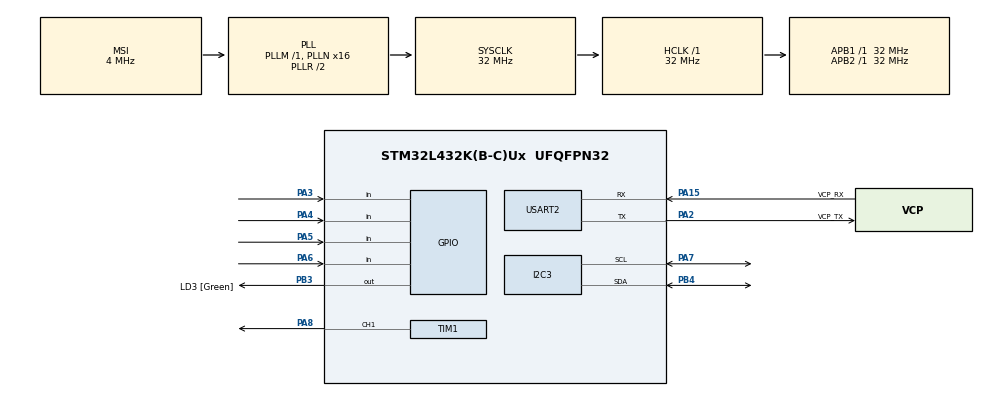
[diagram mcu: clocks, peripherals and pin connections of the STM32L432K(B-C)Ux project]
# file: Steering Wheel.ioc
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FREERTOS.Queues01=sensorQueue,4,SensorPacket_t,0,Dynamic,NULL,NULL;resetQueue,8,uint16_t,0,Dynamic,NULL,NULL;leftQueue,8,uint16_t,0,Dynamic,NULL,NULL;rightQueue,8,uint16_t,0,Dynamic,NULL,NULL;headlightQueue,8,uint16_t,0,Dynamic,NULL,NULL
FREERTOS.Tasks01=SensorTask,32,128,StartDefaultTask06,Default,NULL,Dynamic,NULL,NULL;HeadlightTask,8,128,StartTask01,Default,NULL,Dynamic,NULL,NULL;LeftSignalTask,9,128,StartTask02,Default,NULL,Dynamic,NULL,NULL;RightSignalTask,10,128,StartTask03,Default,NULL,Dynamic,NULL,NULL;ResetButtonTask,11,128,StartTask04,Default,NULL,Dynamic,NULL,NULL;UartTask,40,256,StartTask05,Default,NULL,Dynamic,NULL,NULL
FREERTOS.configTOTAL_HEAP_SIZE=20000
FREERTOS.configUSE_NEWLIB_REENTRANT=1
I2C3.Timing=0x00B07CB4
Mcu.Family=STM32L4
Mcu.Name=STM32L432K(B-C)Ux
Mcu.Package=UFQFPN32
NVIC.PriorityGroup=NVIC_PRIORITYGROUP_4
NVIC.TIM6_DAC_IRQn=true\:15\:0\:false\:false\:true\:false\:false\:true\:true
NVIC.TimeBase=TIM6_DAC_IRQn
NVIC.TimeBaseIP=TIM6
PA0.GPIO_Label=MCO [High speed clock in]
PA0.Mode=HSE-External-Clock-Source-for-LittleOrca
PA0.Signal=RCC_CK_IN
PA13\ (JTMS-SWDIO).GPIO_Label=SWDIO
PA13\ (JTMS-SWDIO).Mode=Serial_Wire
PA13\ (JTMS-SWDIO).Signal=SYS_JTMS-SWDIO
PA14\ (JTCK-SWCLK).GPIO_Label=SWCLK
PA14\ (JTCK-SWCLK).Mode=Serial_Wire
PA14\ (JTCK-SWCLK).Signal=SYS_JTCK-SWCLK
PA15\ (JTDI).GPIO_Label=VCP_RX
PA15\ (JTDI).Mode=Asynchronous
PA15\ (JTDI).Signal=USART2_RX
PA2.GPIO_Label=VCP_TX
PA2.Mode=Asynchronous
PA2.Signal=USART2_TX
PA3.GPIO_PuPd=GPIO_PULLUP
PA3.Signal=GPIO_Input
PA4.GPIO_PuPd=GPIO_PULLUP
PA4.Signal=GPIO_Input
PA5.GPIO_PuPd=GPIO_PULLUP
PA5.Signal=GPIO_Input
PA6.GPIO_PuPd=GPIO_PULLUP
PA6.Signal=GPIO_Input
PA7.Mode=I2C
PA7.Signal=I2C3_SCL
PA8.Signal=S_TIM1_CH1
PB3\ (JTDO-TRACESWO).GPIO_Label=LD3 [Green]
PB3\ (JTDO-TRACESWO).Signal=GPIO_Output
PB4\ (NJTRST).Mode=I2C
PB4\ (NJTRST).Signal=I2C3_SDA
PC14-OSC32_IN\ (PC14).Mode=LSE-External-Oscillator
PC14-OSC32_IN\ (PC14).Signal=RCC_OSC32_IN
PC15-OSC32_OUT\ (PC15).Mode=LSE-External-Oscillator
PC15-OSC32_OUT\ (PC15).Signal=RCC_OSC32_OUT
ProjectManager.HeapSize=0x200
ProjectManager.StackSize=0x400
ProjectManager.TargetToolchain=STM32CubeIDE
RCC.AHBFreq_Value=32000000
RCC.APB1Freq_Value=32000000
RCC.APB1TimFreq_Value=32000000
RCC.APB2Freq_Value=32000000
RCC.APB2TimFreq_Value=32000000
RCC.CortexFreq_Value=32000000
RCC.HCLKFreq_Value=32000000
RCC.HSE_VALUE=8000000
RCC.HSI16_VALUE=16000000
RCC.HSI48_VALUE=48000000
RCC.HSI_VALUE=16000000
RCC.MSI_VALUE=4000000
RCC.PLLMUL=RCC_PLLMUL_4
RCC.PLLN=16
RCC.SYSCLKFreq_VALUE=32000000
RCC.SYSCLKSource=RCC_SYSCLKSOURCE_PLLCLK
RCC.VCOOutputFreq_Value=64000000
SH.S_TIM1_CH1.0=TIM1_CH1,PWM Generation1 CH1
TIM1.Channel-PWM\ Generation1\ CH1=TIM_CHANNEL_1
TIM1.Period=99
TIM1.Prescaler=319
USART2.VirtualMode-Asynchronous=VM_ASYNC
VP_FREERTOS_VS_CMSIS_V2.Mode=CMSIS_V2
VP_SYS_VS_tim6.Mode=TIM6
board=NUCLEO-L432KC

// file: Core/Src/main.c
/* USER CODE BEGIN Header */
/**
  ******************************************************************************
  * @file           : main.c
  * @brief          : Main program body
  ******************************************************************************
  * @attention
  *
  * Copyright (c) 2026 STMicroelectronics.
  * All rights reserved.
  *
  * This software is licensed under terms that can be found in the LICENSE file
  * in the root directory of this software component.
  * If no LICENSE file comes with this software, it is provided AS-IS.
  *
  ******************************************************************************
  */
/* USER CODE END Header */
#include "main.h"
#include "cmsis_os.h"
#include "i2c.h"
#include "tim.h"
#include "usart.h"
#include "gpio.h"

/* USER CODE BEGIN Includes */
#include "stdio.h"
#include "string.h"
#include "stdlib.h"
#include "mpu6050.h"
/* USER CODE END Includes */

void SystemClock_Config(void);
void MX_FREERTOS_Init(void);

/* USER CODE BEGIN 0 */

/* Formats a float as "-12.34" into buf using only integer sprintf
 * specifiers (%d) — sidesteps needing the newlib-nano "-u _printf_float"
 * linker flag, which wasn't taking effect on this project. Always
 * writes exactly 2 decimal digits.
 * NOTE: no longer static — freertos.c (UartTask) calls this too.
 * Declared in main.h so both files can see it. */
void format_float2(char *buf, float val)
{
    int sign = (val < 0) ? -1 : 1;
    float absVal = val * sign;
    int whole = (int)absVal;
    int frac = (int)((absVal - whole) * 100.0f + 0.5f); /* round to 2 dp */
    if (frac >= 100) { frac -= 100; whole += 1; }        /* carry from rounding */
    sprintf(buf, "%s%d.%02d", (sign < 0) ? "-" : "", whole, frac);
}

/* USER CODE END 0 */

int main(void)
{

  /* MCU Configuration--------------------------------------------------------*/

  /* Reset of all peripherals, Initializes the Flash interface and the Systick. */
  HAL_Init();

  /* Configure the system clock */
  SystemClock_Config();

  /* Initialize all configured peripherals */
  MX_GPIO_Init();
  MX_I2C3_Init();
  MX_USART2_UART_Init();
  MX_TIM1_Init();
  /* USER CODE BEGIN 2 */
  /* One-time setup only. All per-cycle work (sensor read, button
   * polling, headlight PWM update, UART send) now lives in the
   * FreeRTOS tasks defined in freertos.c: SensorTask, ResetButtonTask,
   * LeftSignalTask, RightSignalTask, HeadlightTask, and UartTask. */

  /* Step 1: find out what your specific chip actually reports. Confirmed
   * to be 0x72 (a known common clone ID) on your hardware.               */
  uint8_t whoAmI = 0;
  MPU6050_Check_WhoAmI(&hi2c3, &whoAmI);

  char idMsg[40];
  sprintf(idMsg, "WHO_AM_I: 0x%02X\r\n", whoAmI);
  HAL_UART_Transmit(&huart2, (uint8_t*)idMsg, strlen(idMsg), HAL_MAX_DELAY);

  /* Step 2: initialize using the ID we just read. */
  uint8_t calStatus = MPU6050_ERROR;
  if (MPU6050_Init(&hi2c3, whoAmI) == MPU6050_OK) {
      HAL_UART_Transmit(&huart2, (uint8_t*)"Init OK\r\n", 9, HAL_MAX_DELAY);
      calStatus = MPU6050_Calibrate(&hi2c3, 500); /* ~1s, keep sensor still */
  } else {
      HAL_UART_Transmit(&huart2, (uint8_t*)"Init FAILED\r\n", 13, HAL_MAX_DELAY);
  }

  if (calStatus == MPU6050_OK) {
      HAL_UART_Transmit(&huart2, (uint8_t*)"Calibration OK\r\n", 16, HAL_MAX_DELAY);
  } else {
      HAL_UART_Transmit(&huart2, (uint8_t*)"Calibration FAILED\r\n", 20, HAL_MAX_DELAY);
  }

  HAL_TIM_PWM_Start(&htim1, TIM_CHANNEL_1);
  /* USER CODE END 2 */

  /* Init scheduler */
  osKernelInitialize();  /* Call init function for freertos objects (in cmsis_os2.c) */
  MX_FREERTOS_Init();

  /* Start scheduler */
  osKernelStart();

  /* We should never get here as control is now taken by the scheduler */

  /* Infinite loop */
  while (1)
  {

  }
}

void SystemClock_Config(void)
{
  RCC_OscInitTypeDef RCC_OscInitStruct = {0};
  RCC_ClkInitTypeDef RCC_ClkInitStruct = {0};

  /** Configure the main internal regulator output voltage
  */
  if (HAL_PWREx_ControlVoltageScaling(PWR_REGULATOR_VOLTAGE_SCALE1) != HAL_OK)
  {
    Error_Handler();
  }

  /** Configure LSE Drive Capability
  */
  HAL_PWR_EnableBkUpAccess();
  __HAL_RCC_LSEDRIVE_CONFIG(RCC_LSEDRIVE_LOW);

  /** Initializes the RCC Oscillators according to the specified parameters
  * in the RCC_OscInitTypeDef structure.
  */
  RCC_OscInitStruct.OscillatorType = RCC_OSCILLATORTYPE_LSE|RCC_OSCILLATORTYPE_MSI;
  RCC_OscInitStruct.LSEState = RCC_LSE_ON;
  RCC_OscInitStruct.MSIState = RCC_MSI_ON;
  RCC_OscInitStruct.MSICalibrationValue = 0;
  RCC_OscInitStruct.MSIClockRange = RCC_MSIRANGE_6;
  RCC_OscInitStruct.PLL.PLLState = RCC_PLL_ON;
  RCC_OscInitStruct.PLL.PLLSource = RCC_PLLSOURCE_MSI;
  RCC_OscInitStruct.PLL.PLLM = 1;
  RCC_OscInitStruct.PLL.PLLN = 16;
  RCC_OscInitStruct.PLL.PLLP = RCC_PLLP_DIV7;
  RCC_OscInitStruct.PLL.PLLQ = RCC_PLLQ_DIV2;
  RCC_OscInitStruct.PLL.PLLR = RCC_PLLR_DIV2;
  if (HAL_RCC_OscConfig(&RCC_OscInitStruct) != HAL_OK)
  {
    Error_Handler();
  }

  /** Initializes the CPU, AHB and APB buses clocks
  */
  RCC_ClkInitStruct.ClockType = RCC_CLOCKTYPE_HCLK|RCC_CLOCKTYPE_SYSCLK
                              |RCC_CLOCKTYPE_PCLK1|RCC_CLOCKTYPE_PCLK2;
  RCC_ClkInitStruct.SYSCLKSource = RCC_SYSCLKSOURCE_PLLCLK;
  RCC_ClkInitStruct.AHBCLKDivider = RCC_SYSCLK_DIV1;
  RCC_ClkInitStruct.APB1CLKDivider = RCC_HCLK_DIV1;
  RCC_ClkInitStruct.APB2CLKDivider = RCC_HCLK_DIV1;

  if (HAL_RCC_ClockConfig(&RCC_ClkInitStruct, FLASH_LATENCY_1) != HAL_OK)
  {
    Error_Handler();
  }

  /** Enable MSI Auto calibration
  */
  HAL_RCCEx_EnableMSIPLLMode();
}

void HAL_TIM_PeriodElapsedCallback(TIM_HandleTypeDef *htim)
{
  if (htim->Instance == TIM6)
  {
    HAL_IncTick();
  }
}

void Error_Handler(void)
{
  __disable_irq();
  while (1)
  {
  }
}

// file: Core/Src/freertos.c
/* USER CODE BEGIN Header */
/**
  ******************************************************************************
  * @file    freertos.c
  * @brief   Code for freertos applications
  * @note    Generated by CubeMX (FreeRTOS, CMSIS_V2 interface), then hand-edited
  *          to move the Driving Wheel sensor/button/UART loop into
  *          6 tasks + 5 queues, per the plan worked out with Claude.
  ******************************************************************************
  */
/* USER CODE END Header */

#include "FreeRTOS.h"
#include "task.h"
#include "main.h"
#include "cmsis_os.h"

/* USER CODE BEGIN Includes */
#include "mpu6050.h"
#include "i2c.h"
#include "usart.h"
#include "tim.h"
#include "string.h"
#include "stdio.h"

/* Sensor packet carried through sensorQueue. Must exist before
 * MX_FREERTOS_Init() uses sizeof(SensorPacket_t) below. */
typedef struct {
    float Ax, Ay, Az;
    float Gx, Gy, Gz;
    float Temp;
} SensorPacket_t;
/* USER CODE END Includes */

/* USER CODE BEGIN Variables */
static MPU6050_t mpu = {0};   /* only SensorTask touches this */
/* USER CODE END Variables */
/* Definitions for SensorTask */
osThreadId_t SensorTaskHandle;
const osThreadAttr_t SensorTask_attributes = {
  .name = "SensorTask",
  .stack_size = 128 * 4,
  .priority = (osPriority_t) osPriorityAboveNormal,
};
/* Definitions for HeadlightTask */
osThreadId_t HeadlightTaskHandle;
const osThreadAttr_t HeadlightTask_attributes = {
  .name = "HeadlightTask",
  .stack_size = 128 * 4,
  .priority = (osPriority_t) osPriorityLow,
};
/* Definitions for LeftSignalTask */
osThreadId_t LeftSignalTaskHandle;
const osThreadAttr_t LeftSignalTask_attributes = {
  .name = "LeftSignalTask",
  .stack_size = 128 * 4,
  .priority = (osPriority_t) osPriorityLow1,
};
/* Definitions for RightSignalTask */
osThreadId_t RightSignalTaskHandle;
const osThreadAttr_t RightSignalTask_attributes = {
  .name = "RightSignalTask",
  .stack_size = 128 * 4,
  .priority = (osPriority_t) osPriorityLow2,
};
/* Definitions for ResetButtonTask */
osThreadId_t ResetButtonTaskHandle;
const osThreadAttr_t ResetButtonTask_attributes = {
  .name = "ResetButtonTask",
  .stack_size = 128 * 4,
  .priority = (osPriority_t) osPriorityLow3,
};
/* Definitions for UartTask */
osThreadId_t UartTaskHandle;
const osThreadAttr_t UartTask_attributes = {
  .name = "UartTask",
  .stack_size = 256 * 4,
  .priority = (osPriority_t) osPriorityHigh,
};
/* Definitions for sensorQueue */
osMessageQueueId_t sensorQueueHandle;
const osMessageQueueAttr_t sensorQueue_attributes = {
  .name = "sensorQueue"
};
/* Definitions for resetQueue */
osMessageQueueId_t resetQueueHandle;
const osMessageQueueAttr_t resetQueue_attributes = {
  .name = "resetQueue"
};
/* Definitions for leftQueue */
osMessageQueueId_t leftQueueHandle;
const osMessageQueueAttr_t leftQueue_attributes = {
  .name = "leftQueue"
};
/* Definitions for rightQueue */
osMessageQueueId_t rightQueueHandle;
const osMessageQueueAttr_t rightQueue_attributes = {
  .name = "rightQueue"
};
/* Definitions for headlightQueue */
osMessageQueueId_t headlightQueueHandle;
const osMessageQueueAttr_t headlightQueue_attributes = {
  .name = "headlightQueue"
};

/* USER CODE BEGIN FunctionPrototypes */

#define SENSOR_PERIOD_MS  100U   /* sensor + UART line period */

/* 3-sample debounce (same logic the button tasks already used). */
typedef struct { int rawPrev; int stable; int state; } Debounce_t;

static int debounce_update(Debounce_t *d, int raw)
{
  if (raw == d->rawPrev) { if (d->stable < 2) d->stable++; }
  else                   { d->stable = 0; }
  d->rawPrev = raw;
  if (d->stable >= 2) d->state = raw;
  return d->state;
}

/* Empty a queue completely. *any = OR of every value received (so a short
 * tap that rose and fell between two prints is still seen), *last = newest
 * value. Returns how many items were drained. */
static int drain_queue(osMessageQueueId_t q, uint16_t *any, uint16_t *last)
{
  uint16_t v;
  int n = 0;
  *any = 0;
  while (osMessageQueueGet(q, &v, NULL, 0) == osOK) {
    *any |= v;
    *last = v;
    n++;
  }
  return n;
}
/* USER CODE END FunctionPrototypes */

void StartDefaultTask06(void *argument);
void StartTask01(void *argument);
void StartTask02(void *argument);
void StartTask03(void *argument);
void StartTask04(void *argument);
void StartTask05(void *argument);

void MX_FREERTOS_Init(void); /* (MISRA C 2004 rule 8.1) */

void MX_FREERTOS_Init(void) {

  /* Create the queue(s) */
  /* creation of sensorQueue */
  sensorQueueHandle = osMessageQueueNew (4, sizeof(SensorPacket_t), &sensorQueue_attributes);

  /* creation of resetQueue */
  resetQueueHandle = osMessageQueueNew (8, sizeof(uint16_t), &resetQueue_attributes);

  /* creation of leftQueue */
  leftQueueHandle = osMessageQueueNew (8, sizeof(uint16_t), &leftQueue_attributes);

  /* creation of rightQueue */
  rightQueueHandle = osMessageQueueNew (8, sizeof(uint16_t), &rightQueue_attributes);

  /* creation of headlightQueue */
  headlightQueueHandle = osMessageQueueNew (8, sizeof(uint16_t), &headlightQueue_attributes);

  /* Create the thread(s) */
  /* creation of SensorTask */
  SensorTaskHandle = osThreadNew(StartDefaultTask06, NULL, &SensorTask_attributes);

  /* creation of HeadlightTask */
  HeadlightTaskHandle = osThreadNew(StartTask01, NULL, &HeadlightTask_attributes);

  /* creation of LeftSignalTask */
  LeftSignalTaskHandle = osThreadNew(StartTask02, NULL, &LeftSignalTask_attributes);

  /* creation of RightSignalTask */
  RightSignalTaskHandle = osThreadNew(StartTask03, NULL, &RightSignalTask_attributes);

  /* creation of ResetButtonTask */
  ResetButtonTaskHandle = osThreadNew(StartTask04, NULL, &ResetButtonTask_attributes);

  /* creation of UartTask */
  UartTaskHandle = osThreadNew(StartTask05, NULL, &UartTask_attributes);

  /* USER CODE BEGIN RTOS_THREADS */
  /* UartTask uses a blocking (polling) transmit, so it must be the LOWEST
   * priority task: it then runs in the gaps and never starves the sensor
   * or button tasks. Set here so CubeMX regeneration doesn't undo it. */
  osThreadSetPriority(SensorTaskHandle,     osPriorityAboveNormal);
  osThreadSetPriority(HeadlightTaskHandle,  osPriorityNormal);
  osThreadSetPriority(LeftSignalTaskHandle, osPriorityNormal);
  osThreadSetPriority(RightSignalTaskHandle,osPriorityNormal);
  osThreadSetPriority(ResetButtonTaskHandle,osPriorityNormal);
  osThreadSetPriority(UartTaskHandle,       osPriorityLow);
  /* USER CODE END RTOS_THREADS */

}

/* USER CODE BEGIN Header_StartDefaultTask06 */
/**
  * @brief  Function implementing the SensorTask thread.
  *         Reads the MPU6050 on a fixed 100 ms period (osDelayUntil),
  *         using the real elapsed time as dt, and pushes one packet into
  *         sensorQueue for UartTask to pick up.
  * @param  argument: Not used
  * @retval None
  */
/* USER CODE END Header_StartDefaultTask06 */
void StartDefaultTask06(void *argument)
{
  /* USER CODE BEGIN StartDefaultTask06 */
  uint32_t next = osKernelGetTickCount();
  uint32_t last = next;
  for(;;)
  {
    /* Real elapsed time since the previous read, so the complementary
     * filter integrates the gyro over the true dt. */
    uint32_t now = osKernelGetTickCount();
    float dt = (float)(now - last) / 1000.0f;
    last = now;
    if (dt <= 0.0f || dt > 0.5f) dt = SENSOR_PERIOD_MS / 1000.0f;  /* first pass / hiccup */

    MPU6050_Read_All(&hi2c3, &mpu, dt);
    SensorPacket_t packet = {
      .Ax = mpu.Ax, .Ay = mpu.Ay, .Az = mpu.Az,
      .Gx = mpu.Gx, .Gy = mpu.Gy, .Gz = mpu.Gz,
      .Temp = mpu.Temperature
    };
    /* Non-blocking put: drop if UartTask is behind rather than stall. */
    osMessageQueuePut(sensorQueueHandle, &packet, 0, 0);

    /* Fixed period (no drift from the work above). */
    next += SENSOR_PERIOD_MS;
    osDelayUntil(next);
  }
  /* USER CODE END StartDefaultTask06 */
}

/* USER CODE BEGIN Header_StartTask01 */
/**
* @brief Function implementing the HeadlightTask thread.
*        Polls PA6 every 20 ms, debounces, cycles the brightness mode
*        (0 off / 1 half / 2 full), drives TIM1_CH1 PWM directly, and posts
*        (mode << 1 | button level) into headlightQueue for UartTask.
* @param argument: Not used
* @retval None
*/
/* USER CODE END Header_StartTask01 */
void StartTask01(void *argument)
{
  /* USER CODE BEGIN StartTask01 */
  Debounce_t deb = {0, 0, 0};
  int headprev = 0, headtype = 0;
  for(;;)
  {
    int raw = (HAL_GPIO_ReadPin(GPIOA, GPIO_PIN_6) == GPIO_PIN_RESET) ? 1 : 0;
    int buttonhead = debounce_update(&deb, raw);
    if (buttonhead == 1 && headprev == 0) {
      headtype++;
      if (headtype == 3) headtype = 0;
      __HAL_TIM_SET_COMPARE(&htim1, TIM_CHANNEL_1, (headtype * 50));
    }
    headprev = buttonhead;
    /* bit0 = button level, bits1..2 = current brightness mode (0/1/2) */
    uint16_t value = (uint16_t)((headtype << 1) | buttonhead);
    osMessageQueuePut(headlightQueueHandle, &value, 0, 0);
    osDelay(20);
  }
  /* USER CODE END StartTask01 */
}

/* USER CODE BEGIN Header_StartTask02 */
/**
* @brief Function implementing the LeftSignalTask thread.
*        Polls PA4, debounces, pushes the debounced 0/1 state into
*        leftQueue.
* @param argument: Not used
* @retval None
*/
/* USER CODE END Header_StartTask02 */
void StartTask02(void *argument)
{
  /* USER CODE BEGIN StartTask02 */
  int rawPrev = 0, stableCount = 0, state = 0;

  for(;;)
  {
    int raw = (HAL_GPIO_ReadPin(GPIOA, GPIO_PIN_4) == GPIO_PIN_RESET) ? 1 : 0;

    if (raw == rawPrev) {
      if (stableCount < 2) stableCount++;
    } else {
      stableCount = 0;
    }
    rawPrev = raw;

    if (stableCount >= 2) {
      state = raw;
    }

    uint16_t value = (uint16_t)state;
    osMessageQueuePut(leftQueueHandle, &value, 0, 0);

    osDelay(20);
  }
  /* USER CODE END StartTask02 */
}

/* USER CODE BEGIN Header_StartTask03 */
/**
* @brief Function implementing the RightSignalTask thread.
*        Polls PA5, debounces, pushes the debounced 0/1 state into
*        rightQueue.
* @param argument: Not used
* @retval None
*/
/* USER CODE END Header_StartTask03 */
void StartTask03(void *argument)
{
  /* USER CODE BEGIN StartTask03 */
  int rawPrev = 0, stableCount = 0, state = 0;

  for(;;)
  {
    int raw = (HAL_GPIO_ReadPin(GPIOA, GPIO_PIN_5) == GPIO_PIN_RESET) ? 1 : 0;

    if (raw == rawPrev) {
      if (stableCount < 2) stableCount++;
    } else {
      stableCount = 0;
    }
    rawPrev = raw;

    if (stableCount >= 2) {
      state = raw;
    }

    uint16_t value = (uint16_t)state;
    osMessageQueuePut(rightQueueHandle, &value, 0, 0);

    osDelay(20);
  }
  /* USER CODE END StartTask03 */
}

/* USER CODE BEGIN Header_StartTask04 */
/**
* @brief Function implementing the ResetButtonTask thread.
*        Polls PA3, debounces, pushes the debounced 0/1 state into
*        resetQueue.
* @param argument: Not used
* @retval None
*/
/* USER CODE END Header_StartTask04 */
void StartTask04(void *argument)
{
  /* USER CODE BEGIN StartTask04 */
  int buttonRawPrev = 0, buttonStableCount = 0, button = 0;

  for(;;)
  {
    int buttonRaw = (HAL_GPIO_ReadPin(GPIOA, GPIO_PIN_3) == GPIO_PIN_RESET) ? 1 : 0;

    if (buttonRaw == buttonRawPrev) {
      if (buttonStableCount < 2) buttonStableCount++;
    } else {
      buttonStableCount = 0;
    }
    buttonRawPrev = buttonRaw;

    if (buttonStableCount >= 2) {
      button = buttonRaw;
    }

    uint16_t value = (uint16_t)button;
    osMessageQueuePut(resetQueueHandle, &value, 0, 0);

    osDelay(20);
  }
  /* USER CODE END StartTask04 */
}

/* USER CODE BEGIN Header_StartTask05 */
/**
* @brief Function implementing the UartTask thread.
*        Waits on sensorQueue for a new packet, then fully drains each
*        button queue (a button counts as pressed if it was down at ANY
*        sample since the last line), builds the text line the web page
*        expects (plus a trailing Mode field) and sends it over UART.
*        Lowest priority: its polled transmit must never starve the others.
* @param argument: Not used
* @retval None
*/
/* USER CODE END Header_StartTask05 */
void StartTask05(void *argument)
{
  /* USER CODE BEGIN StartTask05 */
  SensorPacket_t packet = {0};
  uint16_t button = 0, buttonleft = 0, buttonright = 0, buttonhead = 0, headmode = 0;
  uint16_t lastReset = 0, lastLeft = 0, lastRight = 0, lastHead = 0, any;
  for(;;)
  {
    /* Paced by SensorTask: one line per new sensor packet. */
    if (osMessageQueueGet(sensorQueueHandle, &packet, NULL, osWaitForever) == osOK)
    {
      /* Each button queue is drained completely. If the button was down at
       * ANY sample since the last line, report 1, so a quick tap is never
       * lost between two prints. No new sample -> keep previous value. */
      if (drain_queue(resetQueueHandle,  &any, &lastReset)) button      = any & 1;
      if (drain_queue(leftQueueHandle,   &any, &lastLeft))  buttonleft  = any & 1;
      if (drain_queue(rightQueueHandle,  &any, &lastRight)) buttonright = any & 1;
      if (drain_queue(headlightQueueHandle, &any, &lastHead)) {
        buttonhead = any & 1;
        headmode   = lastHead >> 1;      /* newest brightness mode */
      }

      char sAx[10], sAy[10], sAz[10], sGx[10], sGy[10], sGz[10], sTemp[10];
      format_float2(sAx, packet.Ax);
      format_float2(sAy, packet.Ay);
      format_float2(sAz, packet.Az);
      format_float2(sGx, packet.Gx);
      format_float2(sGy, packet.Gy);
      format_float2(sGz, packet.Gz);
      format_float2(sTemp, packet.Temp);

      char msg[160];
      int len = snprintf(msg, sizeof(msg),
              "Ax:%s Ay:%s Az:%s Gx:%s Gy:%s Gz:%s Temp:%sC Button:%d Left:%d Right:%d Head:%d Mode:%d\r\n",
              sAx, sAy, sAz, sGx, sGy, sGz, sTemp,
              button, buttonleft, buttonright, buttonhead, headmode);
      if (len > 0) {
        if (len > (int)sizeof(msg) - 1) len = sizeof(msg) - 1;
        HAL_UART_Transmit(&huart2, (uint8_t*)msg, (uint16_t)len, HAL_MAX_DELAY);
      }
    }
  }
  /* USER CODE END StartTask05 */
}
